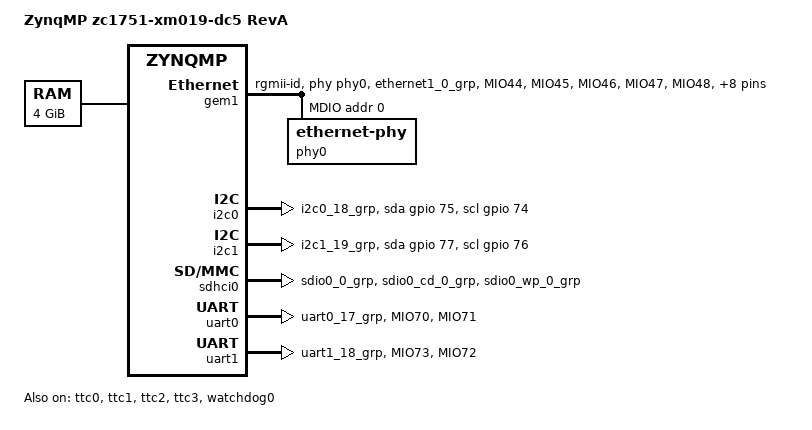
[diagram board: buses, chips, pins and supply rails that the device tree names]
// SPDX-License-Identifier: GPL-2.0+
/*
 * dts file for Xilinx ZynqMP zc1751-xm019-dc5
 *
 * (C) Copyright 2015 - 2021, Xilinx, Inc.
 *
 * Siva Durga Prasad Paladugu <siva.durga.prasad.paladugu@amd.com>
 * Michal Simek <michal.simek@amd.com>
 */

/dts-v1/;

#include "zynqmp.dtsi"
#include "zynqmp-clk-ccf.dtsi"
#include <dt-bindings/gpio/gpio.h>
#include <dt-bindings/pinctrl/pinctrl-zynqmp.h>

/ {
	model = "ZynqMP zc1751-xm019-dc5 RevA";
	compatible = "xlnx,zynqmp-zc1751", "xlnx,zynqmp";

	aliases {
		ethernet0 = &gem1;
		i2c0 = &i2c0;
		i2c1 = &i2c1;
		mmc0 = &sdhci0;
		serial0 = &uart0;
		serial1 = &uart1;
	};

	chosen {
		bootargs = "earlycon";
		stdout-path = "serial0:115200n8";
	};

	memory@0 {
		device_type = "memory";
		reg = <0x0 0x0 0x0 0x80000000>, <0x8 0x00000000 0x0 0x80000000>;
	};
};

&fpd_dma_chan1 {
	status = "okay";
};

&fpd_dma_chan2 {
	status = "okay";
};

&fpd_dma_chan3 {
	status = "okay";
};

&fpd_dma_chan4 {
	status = "okay";
};

&fpd_dma_chan5 {
	status = "okay";
};

&fpd_dma_chan6 {
	status = "okay";
};

&fpd_dma_chan7 {
	status = "okay";
};

&fpd_dma_chan8 {
	status = "okay";
};

&gem1 {
	status = "okay";
	phy-handle = <&phy0>;
	phy-mode = "rgmii-id";
	pinctrl-names = "default";
	pinctrl-0 = <&pinctrl_gem1_default>;
	mdio: mdio {
		#address-cells = <1>;
		#size-cells = <0>;
		phy0: ethernet-phy@0 {
			reg = <0>;
		};
	};
};

&gpio {
	status = "okay";
};

&i2c0 {
	status = "okay";
	pinctrl-names = "default", "gpio";
	pinctrl-0 = <&pinctrl_i2c0_default>;
	pinctrl-1 = <&pinctrl_i2c0_gpio>;
	scl-gpios = <&gpio 74 (GPIO_ACTIVE_HIGH | GPIO_OPEN_DRAIN)>;
	sda-gpios = <&gpio 75 (GPIO_ACTIVE_HIGH | GPIO_OPEN_DRAIN)>;
};

&i2c1 {
	status = "okay";
	pinctrl-names = "default", "gpio";
	pinctrl-0 = <&pinctrl_i2c1_default>;
	pinctrl-1 = <&pinctrl_i2c1_gpio>;
	scl-gpios = <&gpio 76 (GPIO_ACTIVE_HIGH | GPIO_OPEN_DRAIN)>;
	sda-gpios = <&gpio 77 (GPIO_ACTIVE_HIGH | GPIO_OPEN_DRAIN)>;

};

&pinctrl0 {
	status = "okay";
	pinctrl_i2c0_default: i2c0-default {
		mux {
			groups = "i2c0_18_grp";
			function = "i2c0";
		};

		conf {
			groups = "i2c0_18_grp";
			bias-pull-up;
			slew-rate = <SLEW_RATE_SLOW>;
			power-source = <IO_STANDARD_LVCMOS18>;
		};
	};

	pinctrl_i2c0_gpio: i2c0-gpio-grp {
		mux {
			groups = "gpio0_74_grp", "gpio0_75_grp";
			function = "gpio0";
		};

		conf {
			groups = "gpio0_74_grp", "gpio0_75_grp";
			slew-rate = <SLEW_RATE_SLOW>;
			power-source = <IO_STANDARD_LVCMOS18>;
		};
	};

	pinctrl_i2c1_default: i2c1-default {
		mux {
			groups = "i2c1_19_grp";
			function = "i2c1";
		};

		conf {
			groups = "i2c1_19_grp";
			bias-pull-up;
			slew-rate = <SLEW_RATE_SLOW>;
			power-source = <IO_STANDARD_LVCMOS18>;
		};
	};

	pinctrl_i2c1_gpio: i2c1-gpio-grp {
		mux {
			groups = "gpio0_76_grp", "gpio0_77_grp";
			function = "gpio0";
		};

		conf {
			groups = "gpio0_76_grp", "gpio0_77_grp";
			slew-rate = <SLEW_RATE_SLOW>;
			power-source = <IO_STANDARD_LVCMOS18>;
		};
	};

	pinctrl_uart0_default: uart0-default {
		mux {
			groups = "uart0_17_grp";
			function = "uart0";
		};

		conf {
			groups = "uart0_17_grp";
			slew-rate = <SLEW_RATE_SLOW>;
			power-source = <IO_STANDARD_LVCMOS18>;
		};

		conf-rx {
			pins = "MIO70";
			bias-high-impedance;
		};

		conf-tx {
			pins = "MIO71";
			bias-disable;
		};
	};

	pinctrl_uart1_default: uart1-default {
		mux {
			groups = "uart1_18_grp";
			function = "uart1";
		};

		conf {
			groups = "uart1_18_grp";
			slew-rate = <SLEW_RATE_SLOW>;
			power-source = <IO_STANDARD_LVCMOS18>;
		};

		conf-rx {
			pins = "MIO73";
			bias-high-impedance;
		};

		conf-tx {
			pins = "MIO72";
			bias-disable;
		};
	};

	pinctrl_gem1_default: gem1-default {
		mux {
			function = "ethernet1";
			groups = "ethernet1_0_grp";
		};

		conf {
			groups = "ethernet1_0_grp";
			slew-rate = <SLEW_RATE_SLOW>;
			power-source = <IO_STANDARD_LVCMOS18>;
		};

		conf-rx {
			pins = "MIO44", "MIO45", "MIO46", "MIO47", "MIO48",
									"MIO49";
			bias-high-impedance;
			low-power-disable;
		};

		conf-tx {
			pins = "MIO38", "MIO39", "MIO40", "MIO41", "MIO42",
									"MIO43";
			bias-disable;
			low-power-enable;
		};

		mux-mdio {
			function = "mdio1";
			groups = "mdio1_0_grp";
		};

		conf-mdio {
			groups = "mdio1_0_grp";
			slew-rate = <SLEW_RATE_SLOW>;
			power-source = <IO_STANDARD_LVCMOS18>;
			bias-disable;
		};
	};

	pinctrl_sdhci0_default: sdhci0-default {
		mux {
			groups = "sdio0_0_grp";
			function = "sdio0";
		};

		conf {
			groups = "sdio0_0_grp";
			slew-rate = <SLEW_RATE_SLOW>;
			power-source = <IO_STANDARD_LVCMOS18>;
			bias-disable;
		};

		mux-cd {
			groups = "sdio0_cd_0_grp";
			function = "sdio0_cd";
		};

		conf-cd {
			groups = "sdio0_cd_0_grp";
			bias-high-impedance;
			bias-pull-up;
			slew-rate = <SLEW_RATE_SLOW>;
			power-source = <IO_STANDARD_LVCMOS18>;
		};

		mux-wp {
			groups = "sdio0_wp_0_grp";
			function = "sdio0_wp";
		};

		conf-wp {
			groups = "sdio0_wp_0_grp";
			bias-high-impedance;
			bias-pull-up;
			slew-rate = <SLEW_RATE_SLOW>;
			power-source = <IO_STANDARD_LVCMOS18>;
		};
	};

	pinctrl_watchdog0_default: watchdog0-default {
		mux-clk {
			groups = "swdt0_clk_1_grp";
			function = "swdt0_clk";
		};

		conf-clk {
			groups = "swdt0_clk_1_grp";
			bias-pull-up;
		};

		mux-rst {
			groups = "swdt0_rst_1_grp";
			function = "swdt0_rst";
		};

		conf-rst {
			groups = "swdt0_rst_1_grp";
			bias-disable;
			slew-rate = <SLEW_RATE_SLOW>;
		};
	};

	pinctrl_ttc0_default: ttc0-default {
		mux-clk {
			groups = "ttc0_clk_0_grp";
			function = "ttc0_clk";
		};

		conf-clk {
			groups = "ttc0_clk_0_grp";
			bias-pull-up;
		};

		mux-wav {
			groups = "ttc0_wav_0_grp";
			function = "ttc0_wav";
		};

		conf-wav {
			groups = "ttc0_wav_0_grp";
			bias-disable;
			slew-rate = <SLEW_RATE_SLOW>;
		};
	};

	pinctrl_ttc1_default: ttc1-default {
		mux-clk {
			groups = "ttc1_clk_0_grp";
			function = "ttc1_clk";
		};

		conf-clk {
			groups = "ttc1_clk_0_grp";
			bias-pull-up;
		};

		mux-wav {
			groups = "ttc1_wav_0_grp";
			function = "ttc1_wav";
		};

		conf-wav {
			groups = "ttc1_wav_0_grp";
			bias-disable;
			slew-rate = <SLEW_RATE_SLOW>;
		};
	};

	pinctrl_ttc2_default: ttc2-default {
		mux-clk {
			groups = "ttc2_clk_0_grp";
			function = "ttc2_clk";
		};

		conf-clk {
			groups = "ttc2_clk_0_grp";
			bias-pull-up;
		};

		mux-wav {
			groups = "ttc2_wav_0_grp";
			function = "ttc2_wav";
		};

		conf-wav {
			groups = "ttc2_wav_0_grp";
			bias-disable;
			slew-rate = <SLEW_RATE_SLOW>;
		};
	};

	pinctrl_ttc3_default: ttc3-default {
		mux-clk {
			groups = "ttc3_clk_0_grp";
			function = "ttc3_clk";
		};

		conf-clk {
			groups = "ttc3_clk_0_grp";
			bias-pull-up;
		};

		mux-wav {
			groups = "ttc3_wav_0_grp";
			function = "ttc3_wav";
		};

		conf-wav {
			groups = "ttc3_wav_0_grp";
			bias-disable;
			slew-rate = <SLEW_RATE_SLOW>;
		};
	};
};

&sdhci0 {
	status = "okay";
	pinctrl-names = "default";
	pinctrl-0 = <&pinctrl_sdhci0_default>;
	no-1-8-v;
	xlnx,mio-bank = <0>;
};

&ttc0 {
	status = "okay";
	pinctrl-names = "default";
	pinctrl-0 = <&pinctrl_ttc0_default>;
};

&ttc1 {
	status = "okay";
	pinctrl-names = "default";
	pinctrl-0 = <&pinctrl_ttc1_default>;
};

&ttc2 {
	status = "okay";
	pinctrl-names = "default";
	pinctrl-0 = <&pinctrl_ttc2_default>;
};

&ttc3 {
	status = "okay";
	pinctrl-names = "default";
	pinctrl-0 = <&pinctrl_ttc3_default>;
};

&uart0 {
	status = "okay";
	pinctrl-names = "default";
	pinctrl-0 = <&pinctrl_uart0_default>;
};

&uart1 {
	status = "okay";
	pinctrl-names = "default";
	pinctrl-0 = <&pinctrl_uart1_default>;
};

&watchdog0 {
	status = "okay";
	pinctrl-names = "default";
	pinctrl-0 = <&pinctrl_watchdog0_default>;
};
